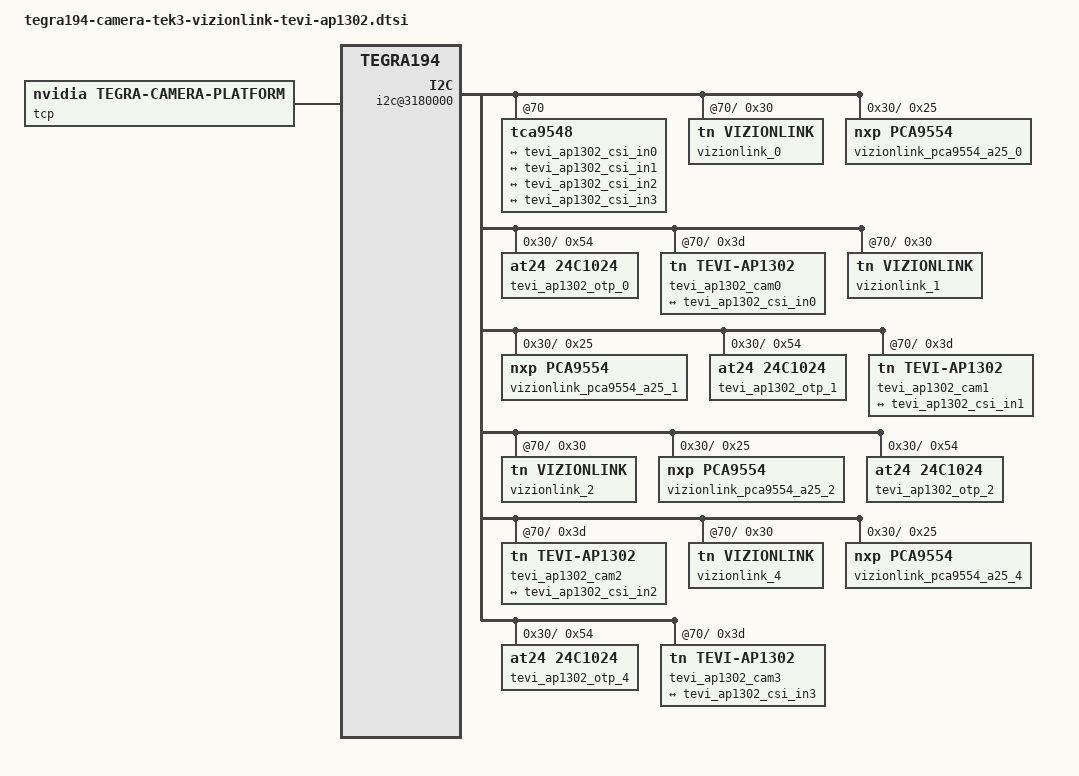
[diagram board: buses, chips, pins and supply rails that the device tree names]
/*
 * Copyright (c) 2018-2020, NVIDIA CORPORATION.  All rights reserved.
 *
 * This program is free software; you can redistribute it and/or modify
 * it under the terms of the GNU General Public License as published by
 * the Free Software Foundation; either version 2 of the License, or
 * (at your option) any later version.
 *
 * This program is distributed in the hope that it will be useful, but WITHOUT
 * ANY WARRANTY; without even the implied warranty of MERCHANTABILITY or
 * FITNESS FOR A PARTICULAR PURPOSE.  See the GNU General Public License for
 * more details.
 *
 * You should have received a copy of the GNU General Public License
 * along with this program.  If not, see <http://www.gnu.org/licenses/>.
 */
#include <dt-bindings/media/camera.h>
#include <dt-bindings/gpio/gpio.h>

/ {
	host1x {
		vi@15c10000  {
			num-channels = <4>;
			ports {
				#address-cells = <1>;
				#size-cells = <0>;
				vi_port0: port@0 {
					reg = <0>;
					tevi_ap1302_vi_in0: endpoint {
						port-index = <0>;
						bus-width = <2>;
						remote-endpoint = <&tevi_ap1302_csi_out0>;
					};
				};
				vi_port1: port@1 {
					reg = <1>;
					tevi_ap1302_vi_in1: endpoint {
						port-index = <1>;
						bus-width = <2>;
						remote-endpoint = <&tevi_ap1302_csi_out1>;
					};
				};
				vi_port2: port@2 {
					reg = <2>;
					tevi_ap1302_vi_in2: endpoint {
						port-index = <2>;
						bus-width = <2>;
						remote-endpoint = <&tevi_ap1302_csi_out2>;
					};
				};
				vi_port3: port@3 {
					reg = <3>;
					tevi_ap1302_vi_in3: endpoint {
						port-index = <4>;
						bus-width = <2>;
						remote-endpoint = <&tevi_ap1302_csi_out3>;
					};
				};
			};
		};

		nvcsi@15a00000 {
			num-channels = <4>;
			#address-cells = <1>;
			#size-cells = <0>;
			csi_chan0: channel@0 {
				reg = <0>;
				ports {
					#address-cells = <1>;
					#size-cells = <0>;
					csi_chan0_port0: port@0 {
						reg = <0>;
						tevi_ap1302_csi_in0: endpoint@0 {
							port-index = <0>;
							bus-width = <2>;
							remote-endpoint = <&tevi_ap1302_dual_out0>;
						};
					};
					csi_chan0_port1: port@1 {
						reg = <1>;
						tevi_ap1302_csi_out0: endpoint@1 {
							remote-endpoint = <&tevi_ap1302_vi_in0>;
						};
					};
				};
			};
			csi_chan1: channel@1 {
				reg = <1>;
				ports {
					#address-cells = <1>;
					#size-cells = <0>;
					csi_chan1_port0: port@2 {
						reg = <0>;
						tevi_ap1302_csi_in1: endpoint@2 {
							port-index = <1>;
							bus-width = <2>;
							remote-endpoint = <&tevi_ap1302_dual_out1>;
						};
					};
					csi_chan1_port1: port@3 {
						reg = <1>;
						tevi_ap1302_csi_out1: endpoint@3 {
							remote-endpoint = <&tevi_ap1302_vi_in1>;
						};
					};
				};
			};
			csi_chan2: channel@2 {
				reg = <2>;
				ports {
					#address-cells = <1>;
					#size-cells = <0>;
					csi_chan2_port0: port@4 {
						reg = <0>;
						tevi_ap1302_csi_in2: endpoint@4 {
							port-index = <2>;
							bus-width = <2>;
							remote-endpoint = <&tevi_ap1302_dual_out2>;
						};
					};
					csi_chan2_port1: port@5 {
						reg = <1>;
						tevi_ap1302_csi_out2: endpoint@5 {
							remote-endpoint = <&tevi_ap1302_vi_in2>;
						};
					};
				};
			};
			csi_chan3: channel@3 {
				reg = <3>;
				ports {
					#address-cells = <1>;
					#size-cells = <0>;
					csi_chan3_port0: port@6 {
						reg = <0>;
						tevi_ap1302_csi_in3: endpoint@6 {
							port-index = <4>;
							bus-width = <2>;
							remote-endpoint = <&tevi_ap1302_dual_out3>;
						};
					};
					csi_chan3_port1: port@7 {
						reg = <1>;
						tevi_ap1302_csi_out3: endpoint@7 {
							remote-endpoint = <&tevi_ap1302_vi_in3>;
						};
					};
				};
			};
		};
	};

	i2c@3180000 { /* cam_i2c */
		tca9548@70 {
			i2c@0 {
				vizionlink_0: vizionlink@30 {
					compatible = "tn,vizionlink";
					reg = <0x30>;
					ser_alias_id = <0x1b>;
					phy-reg = <0x30>;

					//i2c addr alias map "gpio extender, eeprom , sensor"
					i2c_addr_alias_map_local = <0x25 0x54 0x55 0x3d>;
					i2c_addr_alias_map_remote = <0x25 0x54 0x55 0x3d>;

					//deserializer output csi lanes 1~4. default 4
					des_csi_lanes = <2>;

					//1: Enable 0: Disable continuous clock. default 0
					des_csi_continuous_clock = <0>;

					//serializer input csi lanes 1~4. default 4
					ser_csi_lanes = <2>;

					//1: Enable 0: Disable continuous clock. default 0
					ser_csi_continuous_clock = <0>;

					status = "okay";

					i2c_dev_list {
						#address-cells = <1>;
						#size-cells = <0>;

						vizionlink_pca9554_a25_0: vizionlink_pca9554@25 {
							compatible = "nxp,pca9554";
							reg = <0x25>;
							gpio-controller;
							#gpio-cells = <2>;
							status = "okay";
						};
						tevi_ap1302_otp_0: tevi_ap1302_otp@54 {
							compatible = "at24,24c1024";
							pagesize = <128>;
							reg = <0x54>;
						};
					};
				};

				tevi_ap1302_cam0: tevi_ap1302_a@3d {
					compatible = "tn,tevi-ap1302";
					/* I2C device address */
					reg = <0x3d>;

					/* V4L2 device node location */
					devnode = "video0";

					/* Physical dimensions of sensor */
					physical_w = "3.680";
					physical_h = "2.760";

					sensor_model = "tevi-ap1302";

					use_sensor_mode_id = "false";
					//use_sensor_mode_id = "true";

					/**
					* ==== Modes ====
					* A modeX node is required to support v4l2 driver
					* implementation with NVIDIA camera software stack
					*
					* == Signal properties ==
					*
					* phy_mode = "";
					* PHY mode used by the MIPI lanes for this device
					*
					* tegra_sinterface = "";
					* CSI Serial interface connected to tegra
					* Incase of virtual HW devices, use virtual
					* For SW emulated devices, use host
					*
					* pix_clk_hz = "";
					* Sensor pixel clock used for calculations like exposure and framerate
					*
					* readout_orientation = "0";
					* Based on camera module orientation.
					* Only change readout_orientation if you specifically
					* Program a different readout order for this mode
					*
					* == Image format Properties ==
					*
					* active_w = "";
					* Pixel active region width
					*
					* active_h = "";
					* Pixel active region height
					*
					* pixel_t = "";
					* The sensor readout pixel pattern
					*
					* line_length = "";
					* Pixel line length (width) for sensor mode.
					*
					* == Source Control Settings ==
					*
					* Gain factor used to convert fixed point integer to float
					* Gain range [min_gain/gain_factor, max_gain/gain_factor]
					* Gain step [step_gain/gain_factor is the smallest step that can be configured]
					* Default gain [Default gain to be initialized for the control.
					*     use min_gain_val as default for optimal results]
					* Framerate factor used to convert fixed point integer to float
					* Framerate range [min_framerate/framerate_factor, max_framerate/framerate_factor]
					* Framerate step [step_framerate/framerate_factor is the smallest step that can be configured]
					* Default Framerate [Default framerate to be initialized for the control.
					*     use max_framerate to get required performance]
					* Exposure factor used to convert fixed point integer to float
					* For convenience use 1 sec = 1000000us as conversion factor
					* Exposure range [min_exp_time/exposure_factor, max_exp_time/exposure_factor]
					* Exposure step [step_exp_time/exposure_factor is the smallest step that can be configured]
					* Default Exposure Time [Default exposure to be initialized for the control.
					*     Set default exposure based on the default_framerate for optimal exposure settings]
					*
					* gain_factor = ""; (integer factor used for floating to fixed point conversion)
					* min_gain_val = ""; (ceil to integer)
					* max_gain_val = ""; (ceil to integer)
					* step_gain_val = ""; (ceil to integer)
					* default_gain = ""; (ceil to integer)
					* Gain limits for mode
					*
					* exposure_factor = ""; (integer factor used for floating to fixed point conversion)
					* min_exp_time = ""; (ceil to integer)
					* max_exp_time = ""; (ceil to integer)
					* step_exp_time = ""; (ceil to integer)
					* default_exp_time = ""; (ceil to integer)
					* Exposure Time limits for mode (sec)
					*
					* framerate_factor = ""; (integer factor used for floating to fixed point conversion)
					* min_framerate = ""; (ceil to integer)
					* max_framerate = ""; (ceil to integer)
					* step_framerate = ""; (ceil to integer)
					* default_framerate = ""; (ceil to integer)
					* Framerate limits for mode (fps)
					*
					* embedded_metadata_height = "";
					* Sensor embedded metadata height in units of rows.
					* If sensor does not support embedded metadata value should be 0.
					*/
					mode0 { /* AP1302_MODE_1280x720_60FPS */
						mclk_khz = "25000";
						num_lanes = "2";
						tegra_sinterface = "serial_a";
						vc_id = "0";
						phy_mode = "DPHY";
						discontinuous_clk = "yes";
						dpcm_enable = "false";
						cil_settletime = "0";

						active_w = "1280";
						active_h = "720";
						pixel_t = "yuv_uyvy16";
						readout_orientation = "0";
						line_length = "1280";
						inherent_gain = "1";
						// mclk_multiplier = "9.33";
						// pix_clk_hz = "182400000";
						pix_clk_hz = "100000000";
						serdes_pix_clk_hz = "4000000000";

						gain_factor = "16";
						framerate_factor = "1000000";
						exposure_factor = "1000000";
						min_gain_val = "16"; /* 1.00x */
						max_gain_val = "170"; /* 10.66x */
						step_gain_val = "1";
						default_gain = "16"; /* 1.00x */
						min_hdr_ratio = "1";
						max_hdr_ratio = "1";
						min_framerate = "2000000"; /* 2.0 fps */
						max_framerate = "60000000"; /* 60.0 fps */
						step_framerate = "1";
						default_framerate = "60000000"; /* 60.0 fps */
						min_exp_time = "13"; /* us */
						max_exp_time = "683709"; /* us */
						step_exp_time = "1";
						default_exp_time = "2495"; /* us */

						embedded_metadata_height = "0";
					};

					ports {
						#address-cells = <1>;
						#size-cells = <0>;

						port@0 {
							reg = <0>;
							tevi_ap1302_dual_out0: endpoint {
								port-index = <0>;
								bus-width = <2>;
								remote-endpoint = <&tevi_ap1302_csi_in0>;
							};
						};
					};
				};
			};
			i2c@1 {
				vizionlink_1: vizionlink@30 {
					compatible = "tn,vizionlink";
					reg = <0x30>;
					ser_alias_id = <0x1b>;
					phy-reg = <0x30>;

					//i2c addr alias map "gpio extender, eeprom , sensor"
					i2c_addr_alias_map_local = <0x25 0x54 0x55 0x3d>;
					i2c_addr_alias_map_remote = <0x25 0x54 0x55 0x3d>;

					//deserializer output csi lanes 1~4. default 4
					des_csi_lanes = <2>;

					//1: Enable 0: Disable continuous clock. default 0
					des_csi_continuous_clock = <0>;

					//serializer input csi lanes 1~4. default 4
					ser_csi_lanes = <2>;

					//1: Enable 0: Disable continuous clock. default 0
					ser_csi_continuous_clock = <0>;

					status = "okay";

					i2c_dev_list {
						#address-cells = <1>;
						#size-cells = <0>;

						vizionlink_pca9554_a25_1: vizionlink_pca9554@25 {
							compatible = "nxp,pca9554";
							reg = <0x25>;
							gpio-controller;
							#gpio-cells = <2>;
							status = "okay";
						};
						tevi_ap1302_otp_1: tevi_ap1302_otp@54 {
							compatible = "at24,24c1024";
							pagesize = <128>;
							reg = <0x54>;
						};
					};
				};
				tevi_ap1302_cam1: tevi_ap1302_b@3d {
					compatible = "tn,tevi-ap1302";
					/* I2C device address */
					reg = <0x3d>;

					/* V4L2 device node location */
					devnode = "video1";

					/* Physical dimensions of sensor */
					physical_w = "3.680";
					physical_h = "2.760";

					sensor_model = "tevi-ap1302";

					use_sensor_mode_id = "false";

					/**
					* ==== Modes ====
					* A modeX node is required to support v4l2 driver
					* implementation with NVIDIA camera software stack
					*
					* == Signal properties ==
					*
					* phy_mode = "";
					* PHY mode used by the MIPI lanes for this device
					*
					* tegra_sinterface = "";
					* CSI Serial interface connected to tegra
					* Incase of virtual HW devices, use virtual
					* For SW emulated devices, use host
					*
					* pix_clk_hz = "";
					* Sensor pixel clock used for calculations like exposure and framerate
					*
					* readout_orientation = "0";
					* Based on camera module orientation.
					* Only change readout_orientation if you specifically
					* Program a different readout order for this mode
					*
					* == Image format Properties ==
					*
					* active_w = "";
					* Pixel active region width
					*
					* active_h = "";
					* Pixel active region height
					*
					* pixel_t = "";
					* The sensor readout pixel pattern
					*
					* line_length = "";
					* Pixel line length (width) for sensor mode.
					*
					* == Source Control Settings ==
					*
					* Gain factor used to convert fixed point integer to float
					* Gain range [min_gain/gain_factor, max_gain/gain_factor]
					* Gain step [step_gain/gain_factor is the smallest step that can be configured]
					* Default gain [Default gain to be initialized for the control.
					*     use min_gain_val as default for optimal results]
					* Framerate factor used to convert fixed point integer to float
					* Framerate range [min_framerate/framerate_factor, max_framerate/framerate_factor]
					* Framerate step [step_framerate/framerate_factor is the smallest step that can be configured]
					* Default Framerate [Default framerate to be initialized for the control.
					*     use max_framerate to get required performance]
					* Exposure factor used to convert fixed point integer to float
					* For convenience use 1 sec = 1000000us as conversion factor
					* Exposure range [min_exp_time/exposure_factor, max_exp_time/exposure_factor]
					* Exposure step [step_exp_time/exposure_factor is the smallest step that can be configured]
					* Default Exposure Time [Default exposure to be initialized for the control.
					*     Set default exposure based on the default_framerate for optimal exposure settings]
					*
					* gain_factor = ""; (integer factor used for floating to fixed point conversion)
					* min_gain_val = ""; (ceil to integer)
					* max_gain_val = ""; (ceil to integer)
					* step_gain_val = ""; (ceil to integer)
					* default_gain = ""; (ceil to integer)
					* Gain limits for mode
					*
					* exposure_factor = ""; (integer factor used for floating to fixed point conversion)
					* min_exp_time = ""; (ceil to integer)
					* max_exp_time = ""; (ceil to integer)
					* step_exp_time = ""; (ceil to integer)
					* default_exp_time = ""; (ceil to integer)
					* Exposure Time limits for mode (sec)
					*
					* framerate_factor = ""; (integer factor used for floating to fixed point conversion)
					* min_framerate = ""; (ceil to integer)
					* max_framerate = ""; (ceil to integer)
					* step_framerate = ""; (ceil to integer)
					* default_framerate = ""; (ceil to integer)
					* Framerate limits for mode (fps)
					*
					* embedded_metadata_height = "";
					* Sensor embedded metadata height in units of rows.
					* If sensor does not support embedded metadata value should be 0.
					*/
					mode0 { /* AP1302_MODE_1280x720_60FPS */
						mclk_khz = "25000";
						num_lanes = "2";
						tegra_sinterface = "serial_a";
						vc_id = "0";
						phy_mode = "DPHY";
						discontinuous_clk = "yes";
						dpcm_enable = "false";
						cil_settletime = "0";

						active_w = "1280";
						active_h = "720";
						pixel_t = "yuv_uyvy16";
						readout_orientation = "0";
						line_length = "1280";
						inherent_gain = "1";
						// mclk_multiplier = "9.33";
						// pix_clk_hz = "182400000";
						pix_clk_hz = "100000000";
						serdes_pix_clk_hz = "4000000000";

						gain_factor = "16";
						framerate_factor = "1000000";
						exposure_factor = "1000000";
						min_gain_val = "16"; /* 1.00x */
						max_gain_val = "170"; /* 10.66x */
						step_gain_val = "1";
						default_gain = "16"; /* 1.00x */
						min_hdr_ratio = "1";
						max_hdr_ratio = "1";
						min_framerate = "2000000"; /* 2.0 fps */
						max_framerate = "60000000"; /* 60.0 fps */
						step_framerate = "1";
						default_framerate = "60000000"; /* 60.0 fps */
						min_exp_time = "13"; /* us */
						max_exp_time = "683709"; /* us */
						step_exp_time = "1";
						default_exp_time = "2495"; /* us */

						embedded_metadata_height = "0";
					};

					ports {
						#address-cells = <1>;
						#size-cells = <0>;

						port@0 {
							reg = <0>;
							tevi_ap1302_dual_out1: endpoint {
								port-index = <1>;
								bus-width = <2>;
								remote-endpoint = <&tevi_ap1302_csi_in1>;
							};
						};
					};
				};
			};
			i2c@2 {

				vizionlink_2: vizionlink@30 {
					compatible = "tn,vizionlink";
					reg = <0x30>;
					ser_alias_id = <0x1b>;
					phy-reg = <0x30>;

					//i2c addr alias map "gpio extender, eeprom , sensor"
					i2c_addr_alias_map_local = <0x25 0x54 0x55 0x3d>;
					i2c_addr_alias_map_remote = <0x25 0x54 0x55 0x3d>;

					//deserializer output csi lanes 1~4. default 4
					des_csi_lanes = <2>;

					//1: Enable 0: Disable continuous clock. default 0
					des_csi_continuous_clock = <0>;

					//serializer input csi lanes 1~4. default 4
					ser_csi_lanes = <2>;

					//1: Enable 0: Disable continuous clock. default 0
					ser_csi_continuous_clock = <0>;

					status = "okay";

					i2c_dev_list {
						#address-cells = <1>;
						#size-cells = <0>;

						vizionlink_pca9554_a25_2: vizionlink_pca9554@25 {
							compatible = "nxp,pca9554";
							reg = <0x25>;
							gpio-controller;
							#gpio-cells = <2>;
							status = "okay";
						};
						tevi_ap1302_otp_2: tevi_ap1302_otp@54 {
							compatible = "at24,24c1024";
							pagesize = <128>;
							reg = <0x54>;
						};
					};
				};
				tevi_ap1302_cam2: tevi_ap1302_c@3d {
					compatible = "tn,tevi-ap1302";
					/* I2C device address */
					reg = <0x3d>;

					/* V4L2 device node location */
					devnode = "video2";

					/* Physical dimensions of sensor */
					physical_w = "3.680";
					physical_h = "2.760";

					sensor_model = "tevi-ap1302";

					use_sensor_mode_id = "false";

					/**
					* ==== Modes ====
					* A modeX node is required to support v4l2 driver
					* implementation with NVIDIA camera software stack
					*
					* == Signal properties ==
					*
					* phy_mode = "";
					* PHY mode used by the MIPI lanes for this device
					*
					* tegra_sinterface = "";
					* CSI Serial interface connected to tegra
					* Incase of virtual HW devices, use virtual
					* For SW emulated devices, use host
					*
					* pix_clk_hz = "";
					* Sensor pixel clock used for calculations like exposure and framerate
					*
					* readout_orientation = "0";
					* Based on camera module orientation.
					* Only change readout_orientation if you specifically
					* Program a different readout order for this mode
					*
					* == Image format Properties ==
					*
					* active_w = "";
					* Pixel active region width
					*
					* active_h = "";
					* Pixel active region height
					*
					* pixel_t = "";
					* The sensor readout pixel pattern
					*
					* line_length = "";
					* Pixel line length (width) for sensor mode.
					*
					* == Source Control Settings ==
					*
					* Gain factor used to convert fixed point integer to float
					* Gain range [min_gain/gain_factor, max_gain/gain_factor]
					* Gain step [step_gain/gain_factor is the smallest step that can be configured]
					* Default gain [Default gain to be initialized for the control.
					*     use min_gain_val as default for optimal results]
					* Framerate factor used to convert fixed point integer to float
					* Framerate range [min_framerate/framerate_factor, max_framerate/framerate_factor]
					* Framerate step [step_framerate/framerate_factor is the smallest step that can be configured]
					* Default Framerate [Default framerate to be initialized for the control.
					*     use max_framerate to get required performance]
					* Exposure factor used to convert fixed point integer to float
					* For convenience use 1 sec = 1000000us as conversion factor
					* Exposure range [min_exp_time/exposure_factor, max_exp_time/exposure_factor]
					* Exposure step [step_exp_time/exposure_factor is the smallest step that can be configured]
					* Default Exposure Time [Default exposure to be initialized for the control.
					*     Set default exposure based on the default_framerate for optimal exposure settings]
					*
					* gain_factor = ""; (integer factor used for floating to fixed point conversion)
					* min_gain_val = ""; (ceil to integer)
					* max_gain_val = ""; (ceil to integer)
					* step_gain_val = ""; (ceil to integer)
					* default_gain = ""; (ceil to integer)
					* Gain limits for mode
					*
					* exposure_factor = ""; (integer factor used for floating to fixed point conversion)
					* min_exp_time = ""; (ceil to integer)
					* max_exp_time = ""; (ceil to integer)
					* step_exp_time = ""; (ceil to integer)
					* default_exp_time = ""; (ceil to integer)
					* Exposure Time limits for mode (sec)
					*
					* framerate_factor = ""; (integer factor used for floating to fixed point conversion)
					* min_framerate = ""; (ceil to integer)
					* max_framerate = ""; (ceil to integer)
					* step_framerate = ""; (ceil to integer)
					* default_framerate = ""; (ceil to integer)
					* Framerate limits for mode (fps)
					*
					* embedded_metadata_height = "";
					* Sensor embedded metadata height in units of rows.
					* If sensor does not support embedded metadata value should be 0.
					*/
					mode0 { /* AP1302_MODE_1280x720_60FPS */
						mclk_khz = "25000";
						num_lanes = "2";
						tegra_sinterface = "serial_a";
						vc_id = "0";
						phy_mode = "DPHY";
						discontinuous_clk = "yes";
						dpcm_enable = "false";
						cil_settletime = "0";

						active_w = "1280";
						active_h = "720";
						pixel_t = "yuv_uyvy16";
						readout_orientation = "0";
						line_length = "1280";
						inherent_gain = "1";
						// mclk_multiplier = "9.33";
						// pix_clk_hz = "182400000";
						pix_clk_hz = "100000000";
						serdes_pix_clk_hz = "4000000000";

						gain_factor = "16";
						framerate_factor = "1000000";
						exposure_factor = "1000000";
						min_gain_val = "16"; /* 1.00x */
						max_gain_val = "170"; /* 10.66x */
						step_gain_val = "1";
						default_gain = "16"; /* 1.00x */
						min_hdr_ratio = "1";
						max_hdr_ratio = "1";
						min_framerate = "2000000"; /* 2.0 fps */
						max_framerate = "60000000"; /* 60.0 fps */
						step_framerate = "1";
						default_framerate = "60000000"; /* 60.0 fps */
						min_exp_time = "13"; /* us */
						max_exp_time = "683709"; /* us */
						step_exp_time = "1";
						default_exp_time = "2495"; /* us */

						embedded_metadata_height = "0";
					};

					ports {
						#address-cells = <1>;
						#size-cells = <0>;

						port@0 {
							reg = <0>;
							tevi_ap1302_dual_out2: endpoint {
								port-index = <2>;
								bus-width = <2>;
								remote-endpoint = <&tevi_ap1302_csi_in2>;
							};
						};
					};
				};
			};
			i2c@4 {
				vizionlink_4: vizionlink@30 {
					compatible = "tn,vizionlink";
					reg = <0x30>;
					ser_alias_id = <0x1b>;
					phy-reg = <0x30>;

					//i2c addr alias map "gpio extender, eeprom , sensor"
					i2c_addr_alias_map_local = <0x25 0x54 0x55 0x3d>;
					i2c_addr_alias_map_remote = <0x25 0x54 0x55 0x3d>;

					//deserializer output csi lanes 1~4. default 4
					des_csi_lanes = <2>;

					//1: Enable 0: Disable continuous clock. default 0
					des_csi_continuous_clock = <0>;

					//serializer input csi lanes 1~4. default 4
					ser_csi_lanes = <2>;

					//1: Enable 0: Disable continuous clock. default 0
					ser_csi_continuous_clock = <0>;

					status = "okay";

					i2c_dev_list {
						#address-cells = <1>;
						#size-cells = <0>;

						vizionlink_pca9554_a25_4: vizionlink_pca9554@25 {
							compatible = "nxp,pca9554";
							reg = <0x25>;
							gpio-controller;
							#gpio-cells = <2>;
							status = "okay";
						};
						tevi_ap1302_otp_4: tevi_ap1302_otp@54 {
							compatible = "at24,24c1024";
							pagesize = <128>;
							reg = <0x54>;
						};
					};
				};
				tevi_ap1302_cam3: tevi_ap1302_e@3d {
					compatible = "tn,tevi-aP1302";
					/* I2C device address */
					reg = <0x3d>;

					/* V4L2 device node location */
					devnode = "video3";

					/* Physical dimensions of sensor */
					physical_w = "3.680";
					physical_h = "2.760";

					sensor_model = "tevi-ap1302";

					use_sensor_mode_id = "false";

					/**
					* ==== Modes ====
					* A modeX node is required to support v4l2 driver
					* implementation with NVIDIA camera software stack
					*
					* == Signal properties ==
					*
					* phy_mode = "";
					* PHY mode used by the MIPI lanes for this device
					*
					* tegra_sinterface = "";
					* CSI Serial interface connected to tegra
					* Incase of virtual HW devices, use virtual
					* For SW emulated devices, use host
					*
					* pix_clk_hz = "";
					* Sensor pixel clock used for calculations like exposure and framerate
					*
					* readout_orientation = "0";
					* Based on camera module orientation.
					* Only change readout_orientation if you specifically
					* Program a different readout order for this mode
					*
					* == Image format Properties ==
					*
					* active_w = "";
					* Pixel active region width
					*
					* active_h = "";
					* Pixel active region height
					*
					* pixel_t = "";
					* The sensor readout pixel pattern
					*
					* line_length = "";
					* Pixel line length (width) for sensor mode.
					*
					* == Source Control Settings ==
					*
					* Gain factor used to convert fixed point integer to float
					* Gain range [min_gain/gain_factor, max_gain/gain_factor]
					* Gain step [step_gain/gain_factor is the smallest step that can be configured]
					* Default gain [Default gain to be initialized for the control.
					*     use min_gain_val as default for optimal results]
					* Framerate factor used to convert fixed point integer to float
					* Framerate range [min_framerate/framerate_factor, max_framerate/framerate_factor]
					* Framerate step [step_framerate/framerate_factor is the smallest step that can be configured]
					* Default Framerate [Default framerate to be initialized for the control.
					*     use max_framerate to get required performance]
					* Exposure factor used to convert fixed point integer to float
					* For convenience use 1 sec = 1000000us as conversion factor
					* Exposure range [min_exp_time/exposure_factor, max_exp_time/exposure_factor]
					* Exposure step [step_exp_time/exposure_factor is the smallest step that can be configured]
					* Default Exposure Time [Default exposure to be initialized for the control.
					*     Set default exposure based on the default_framerate for optimal exposure settings]
					*
					* gain_factor = ""; (integer factor used for floating to fixed point conversion)
					* min_gain_val = ""; (ceil to integer)
					* max_gain_val = ""; (ceil to integer)
					* step_gain_val = ""; (ceil to integer)
					* default_gain = ""; (ceil to integer)
					* Gain limits for mode
					*
					* exposure_factor = ""; (integer factor used for floating to fixed point conversion)
					* min_exp_time = ""; (ceil to integer)
					* max_exp_time = ""; (ceil to integer)
					* step_exp_time = ""; (ceil to integer)
					* default_exp_time = ""; (ceil to integer)
					* Exposure Time limits for mode (sec)
					*
					* framerate_factor = ""; (integer factor used for floating to fixed point conversion)
					* min_framerate = ""; (ceil to integer)
					* max_framerate = ""; (ceil to integer)
					* step_framerate = ""; (ceil to integer)
					* default_framerate = ""; (ceil to integer)
					* Framerate limits for mode (fps)
					*
					* embedded_metadata_height = "";
					* Sensor embedded metadata height in units of rows.
					* If sensor does not support embedded metadata value should be 0.
					*/
					mode0 { /* AP1302_MODE_1280x720_60FPS */
						mclk_khz = "25000";
						num_lanes = "2";
						tegra_sinterface = "serial_a";
						vc_id = "0";
						phy_mode = "DPHY";
						discontinuous_clk = "yes";
						dpcm_enable = "false";
						cil_settletime = "0";

						active_w = "1280";
						active_h = "720";
						pixel_t = "yuv_uyvy16";
						readout_orientation = "0";
						line_length = "1280";
						inherent_gain = "1";
						// mclk_multiplier = "9.33";
						// pix_clk_hz = "182400000";
						pix_clk_hz = "100000000";
						serdes_pix_clk_hz = "4000000000";

						gain_factor = "16";
						framerate_factor = "1000000";
						exposure_factor = "1000000";
						min_gain_val = "16"; /* 1.00x */
						max_gain_val = "170"; /* 10.66x */
						step_gain_val = "1";
						default_gain = "16"; /* 1.00x */
						min_hdr_ratio = "1";
						max_hdr_ratio = "1";
						min_framerate = "2000000"; /* 2.0 fps */
						max_framerate = "60000000"; /* 60.0 fps */
						step_framerate = "1";
						default_framerate = "60000000"; /* 60.0 fps */
						min_exp_time = "13"; /* us */
						max_exp_time = "683709"; /* us */
						step_exp_time = "1";
						default_exp_time = "2495"; /* us */

						embedded_metadata_height = "0";
					};

					ports {
						#address-cells = <1>;
						#size-cells = <0>;

						port@0 {
							reg = <0>;
							tevi_ap1302_dual_out3: endpoint {
								port-index = <4>;
								bus-width = <2>;
								remote-endpoint = <&tevi_ap1302_csi_in3>;
							};
						};
					};
				};
			};
		};
	};

	lens_ap1302@RBPCV2 {
		min_focus_distance = "0.0";
		hyper_focal = "0.0";
		focal_length = "3.04";
		f_number = "2.0";
		aperture = "0.0";
	};
};
/ {
	tcp: tegra-camera-platform {
		compatible = "nvidia, tegra-camera-platform";
		/**
		* Physical settings to calculate max ISO BW
		*
		* num_csi_lanes = <>;
		* Total number of CSI lanes when all cameras are active
		*
		* max_lane_speed = <>;
		* Max lane speed in Kbit/s
		*
		* min_bits_per_pixel = <>;
		* Min bits per pixel
		*
		* vi_peak_byte_per_pixel = <>;
		* Max byte per pixel for the VI ISO case
		*
		* vi_bw_margin_pct = <>;
		* Vi bandwidth margin in percentage
		*
		* max_pixel_rate = <>;
		* Max pixel rate in Kpixel/s for the ISP ISO case
		*
		* isp_peak_byte_per_pixel = <>;
		* Max byte per pixel for the ISP ISO case
		*
		* isp_bw_margin_pct = <>;
		* Isp bandwidth margin in percentage
		*/
		num_csi_lanes = <4>;
		max_lane_speed = <1500000>;
		min_bits_per_pixel = <10>;
		vi_peak_byte_per_pixel = <2>;
		vi_bw_margin_pct = <25>;
		max_pixel_rate = <240000>;
		isp_peak_byte_per_pixel = <5>;
		isp_bw_margin_pct = <25>;

		/**
		 * The general guideline for naming badge_info contains 3 parts, and is as follows,
		 * The first part is the camera_board_id for the module; if the module is in a FFD
		 * platform, then use the platform name for this part.
		 * The second part contains the position of the module, ex. "rear" or "front".
		 * The third part contains the last 6 characters of a part number which is found
		 * in the module's specsheet from the vendor.
		 */
		modules {
			cam_module0: module0 {
				badge = "jakku_front_RBP194";
				position = "front";
				orientation = "1";
				cam_module0_drivernode0: drivernode0 {
					pcl_id = "v4l2_sensor";
					devname = "ap1302 30-003d";
					proc-device-tree = "/proc/device-tree/cam_i2cmux/i2c@0/tevi_ap1302_a@3d";
				};
				cam_module0_drivernode1: drivernode1 {
					pcl_id = "v4l2_lens";
					proc-device-tree = "/proc/device-tree/lens_ap1302@RBPCV2/";
				};
			};
			cam_module1: module1 {
				badge = "jakku_front_RBP194";
				position = "front";
				orientation = "1";
				cam_module1_drivernode0: drivernode0 {
					pcl_id = "v4l2_sensor";
					devname = "ap1302 31-003d";
					proc-device-tree = "/proc/device-tree/cam_i2cmux/i2c@1/tevi_ap1302_b@3d";
				};
				cam_module1_drivernode1: drivernode1 {
					pcl_id = "v4l2_lens";
					proc-device-tree = "/proc/device-tree/lens_ap1302@RBPCV2/";
				};
			};
			cam_module2: module2 {
				badge = "jakku_front_RBP194";
				position = "front";
				orientation = "1";
				cam_module2_drivernode0: drivernode0 {
					pcl_id = "v4l2_sensor";
					devname = "ap1302 32-003d";
					proc-device-tree = "/proc/device-tree/cam_i2cmux/i2c@2/tevi_ap1302_c@3d";
				};
				cam_module2_drivernode1: drivernode1 {
					pcl_id = "v4l2_lens";
					proc-device-tree = "/proc/device-tree/lens_ap1302@RBPCV2/";
				};
			};
			cam_module3: module3 {
				badge = "jakku_front_RBP194";
				position = "front";
				orientation = "1";
				cam_module3_drivernode0: drivernode0 {
					pcl_id = "v4l2_sensor";
					devname = "ap1302 34-003d";
					proc-device-tree = "/proc/device-tree/cam_i2cmux/i2c@4/tevi_ap1302_e@3d";
				};
				cam_module3_drivernode1: drivernode1 {
					pcl_id = "v4l2_lens";
					proc-device-tree = "/proc/device-tree/lens_ap1302@RBPCV2/";
				};
			};
		};
	};
};
